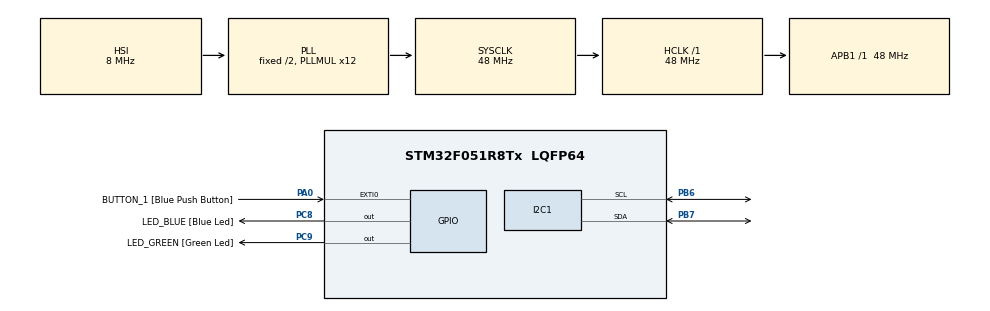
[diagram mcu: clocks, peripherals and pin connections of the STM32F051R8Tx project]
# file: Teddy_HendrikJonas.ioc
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Mcu.Family=STM32F0
Mcu.Name=STM32F051R8Tx
Mcu.Package=LQFP64
NVIC.EXTI0_1_IRQn=true\:1\:0\:true\:false\:true\:true\:true\:true
NVIC.I2C1_IRQn=true\:0\:0\:false\:false\:true\:true\:true\:true
NVIC.TIM1_BRK_UP_TRG_COM_IRQn=true\:1\:0\:true\:false\:true\:true\:true\:true
NVIC.TIM1_CC_IRQn=true\:1\:0\:true\:false\:true\:true\:true\:true
NVIC.TIM2_IRQn=true\:0\:0\:false\:false\:true\:true\:true\:true
NVIC.TIM3_IRQn=true\:0\:0\:false\:false\:true\:true\:true\:true
PA0.GPIO_Label=BUTTON_1 [Blue Push Button]
PA0.Signal=GPXTI0
PA13.GPIO_Label=SWDIO
PA13.Mode=Serial_Wire
PA13.Signal=SYS_SWDIO
PA14.GPIO_Label=SWCLK
PA14.Mode=Serial_Wire
PA14.Signal=SYS_SWCLK
PB6.Mode=I2C
PB6.Signal=I2C1_SCL
PB7.Mode=I2C
PB7.Signal=I2C1_SDA
PC8.GPIO_Label=LED_BLUE [Blue Led]
PC8.Signal=GPIO_Output
PC9.GPIO_Label=LED_GREEN [Green Led]
PC9.Signal=GPIO_Output
ProjectManager.HeapSize=0x200
ProjectManager.StackSize=0x400
ProjectManager.TargetToolchain=STM32CubeIDE
RCC.AHBFreq_Value=48000000
RCC.APB1Freq_Value=48000000
RCC.APB1TimFreq_Value=48000000
RCC.HCLKFreq_Value=48000000
RCC.PLLMUL=RCC_PLL_MUL12
RCC.SYSCLKFreq_VALUE=48000000
RCC.SYSCLKSource=RCC_SYSCLKSOURCE_PLLCLK
TIM1.AutoReloadPreload=TIM_AUTORELOAD_PRELOAD_DISABLE
TIM1.Channel-PWM\ Generation4\ No\ Output=TIM_CHANNEL_4
TIM1.Period=100
TIM1.Prescaler=48000
TIM2.Channel-Output\ Compare1\ No\ Output=TIM_CHANNEL_1
TIM2.Period=2499
TIM2.Prescaler=\ 4800
TIM3.Channel-PWM\ Generation4\ No\ Output=TIM_CHANNEL_4
TIM3.Period=100
TIM3.Prescaler=4800
VP_TIM1_VS_no_output4.Mode=PWM Generation4 No Output
VP_TIM2_VS_no_output1.Mode=Output Compare1 No Output
VP_TIM3_VS_no_output4.Mode=PWM Generation4 No Output
board=STM32F0DISCOVERY

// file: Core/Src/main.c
/* USER CODE BEGIN Header */
/**
 ******************************************************************************
 * @file           : main.c
 * @brief          : Main program body
 ******************************************************************************
 * @attention
 *
 * Copyright (c) 2024 STMicroelectronics.
 * All rights reserved.
 *
 * This software is licensed under terms that can be found in the LICENSE file
 * in the root directory of this software component.
 * If no LICENSE file comes with this software, it is provided AS-IS.
 *
 ******************************************************************************
 */
/* USER CODE END Header */
#include "main.h"

/* USER CODE BEGIN Includes */
#include<stdbool.h>
#include<stdlib.h>
#include<stdio.h>
/* USER CODE END Includes */

// I2C
I2C_HandleTypeDef hi2c1;

// Timer
TIM_HandleTypeDef htim1;
TIM_HandleTypeDef htim2;
TIM_HandleTypeDef htim3;

/* USER CODE BEGIN PV */
bool continueIt = false;	// Variable for Blocking in Delay-Function
bool eyesInverted = false;	// Variable for eye modswitching between normal and inverted
/* USER CODE END PV */

// Initialization functions
void SystemClock_Config(void);
static void MX_GPIO_Init(void);
static void MX_TIM1_Init(void);
static void MX_TIM2_Init(void);
static void MX_I2C1_Init(void);
static void MX_TIM3_Init(void);
/* USER CODE BEGIN PFP */
void DelayTime(uint32_t); //Custom DElay function

// Main functions for Reactions
void Hug();
void EatCookie();
void BeUncomfortable();

void FlashEyesSynchronous(int);
void FlashEyesAsynchronous(int, int);
/* USER CODE END PFP */

int main(void)
{

  /* MCU Configuration--------------------------------------------------------*/

  /* Reset of all peripherals, Initializes the Flash interface and the Systick. */
  HAL_Init();

  /* Configure the system clock */
  SystemClock_Config();

  /* Initialize all configured peripherals */
  MX_GPIO_Init();
  MX_TIM1_Init();
  MX_TIM2_Init();
  MX_I2C1_Init();
  MX_TIM3_Init();
  /* USER CODE BEGIN 2 */

// Hardcoded Prescaler, Autoreload and Capturecompare Registervalues for TIM1 and TIM3 and Prescaler for TIM2
// Overwrites changes of init functions
	TIM1->PSC = 240;
	TIM1->ARR = 400;
	TIM1->CCR4 = 100;

	TIM2->PSC = 4800;

	TIM3->PSC = 240;
	TIM3->ARR = 400;
	TIM3->CCR4 = 100;

// Start Timers and PWM Signal of TIM1 and TIM3
	HAL_TIM_PWM_Start_IT(&htim1,TIM_CHANNEL_4);
	HAL_TIM_PWM_Start_IT(&htim3,TIM_CHANNEL_4);
	HAL_TIM_Base_Start_IT(&htim1);
	HAL_TIM_Base_Start_IT(&htim3);

// Addressvariables for I2C-Commuication
	uint16_t gyroAddress = 0x21<<1;
	uint16_t gyroRegister = 0x01;
	uint16_t gyroControllRegister = 0x13;
	uint16_t magAddress = 0x1F<<1;
	uint16_t magRegister = 0x33;
	uint16_t magControllRegister = 0x2A;
	uint16_t magMagControllRegister = 0x5B;

// Datavariables for I2C-Communication
	uint8_t gyroData[6] = {0,0,0,0,0,0};									// Data-Buffer Gyroscope
	uint8_t gyroControllData[2] = {gyroControllRegister,0b00000010};		// Data to be sent to Gyro CTRL_REG1

	uint8_t magData[6] = {0,0,0,0,0,0};										// Data-Buffer Magnetometer
	uint8_t magControllData[2] = {magControllRegister,0b00000001};			// Data to be sent to Magnetometer CTRL_REG1
	uint8_t magMagControllData[2] = {magMagControllRegister,0b00000001};	// Data to be sent to Magnetometer M_CTRL_REG1

// Statusvariables for I2C-Communication
	HAL_StatusTypeDef statusGyro;
	HAL_StatusTypeDef statusMag;

// Variables for calculation of required information
	int16_t gyroY;

	int16_t magX;
	int16_t magY;
	int16_t magZ;
	uint16_t magAbs;

// Configure Gyroscope and Magnetometer via I2C-Communication
	statusGyro = HAL_I2C_Master_Transmit(&hi2c1, gyroAddress, &gyroControllData[0], 2, 100);
	statusMag = HAL_I2C_Master_Transmit(&hi2c1, magAddress, &magControllData[0], 2, 100);
	statusMag = HAL_I2C_Master_Transmit(&hi2c1, magAddress, &magMagControllData[0], 2, 100);
  /* USER CODE END 2 */

  /* Infinite loop */
	while (1)
	{

    /* USER CODE BEGIN 3 */

// Read Status from Gyroscope and Magnetometer
		statusGyro = HAL_I2C_IsDeviceReady(&hi2c1, gyroAddress, 1, 100);
		statusMag = HAL_I2C_IsDeviceReady(&hi2c1, magAddress, 1, 100);

// If Status OK read AngularRate Data from Gyroscope DataOutputRRegisters
		if(statusGyro == HAL_OK){
			HAL_I2C_Mem_Read(&hi2c1, gyroAddress, gyroRegister, 1, &gyroData[0], 6, 100);

// Convert 8MSB and 8LSB to 16 bit signed integer
			gyroY = (gyroData[2]<<8)+gyroData[3];

// React if agularRate is higher than threshhold
			if(abs(gyroY)>2000){
				BeUncomfortable();
			}
		}

// If Status OK read Magnetometer Data from DataOutputRRegisters
		if(statusMag == HAL_OK){
			HAL_I2C_Mem_Read(&hi2c1, magAddress, magRegister, 1, &magData[0], 6, 100);

// Convert 8MSB and 8LSB to 16 bit signed integer
			magX = (magData[0]<<8)+magData[1];
			magY = (magData[2]<<8)+magData[3];
			magZ = (magData[4]<<8)+magData[5];

// React if magnetic field is stronger than threshhold
			magAbs = (uint16_t)(abs(magX)+abs(magY)+abs(magZ));
			if(magAbs>5000){
				EatCookie();
			}
		}

	// Delay to reduce workload on sensors and I2C-Bus
		DelayTime(100);
	}
  /* USER CODE END 3 */
}

void SystemClock_Config(void)
{
  RCC_OscInitTypeDef RCC_OscInitStruct = {0};
  RCC_ClkInitTypeDef RCC_ClkInitStruct = {0};
  RCC_PeriphCLKInitTypeDef PeriphClkInit = {0};

  /** Initializes the RCC Oscillators according to the specified parameters
  * in the RCC_OscInitTypeDef structure.
  */
  RCC_OscInitStruct.OscillatorType = RCC_OSCILLATORTYPE_HSI;
  RCC_OscInitStruct.HSIState = RCC_HSI_ON;
  RCC_OscInitStruct.HSICalibrationValue = RCC_HSICALIBRATION_DEFAULT;
  RCC_OscInitStruct.PLL.PLLState = RCC_PLL_ON;
  RCC_OscInitStruct.PLL.PLLSource = RCC_PLLSOURCE_HSI;
  RCC_OscInitStruct.PLL.PLLMUL = RCC_PLL_MUL12;
  RCC_OscInitStruct.PLL.PREDIV = RCC_PREDIV_DIV1;
  if (HAL_RCC_OscConfig(&RCC_OscInitStruct) != HAL_OK)
  {
    Error_Handler();
  }

  /** Initializes the CPU, AHB and APB buses clocks
  */
  RCC_ClkInitStruct.ClockType = RCC_CLOCKTYPE_HCLK|RCC_CLOCKTYPE_SYSCLK
                              |RCC_CLOCKTYPE_PCLK1;
  RCC_ClkInitStruct.SYSCLKSource = RCC_SYSCLKSOURCE_PLLCLK;
  RCC_ClkInitStruct.AHBCLKDivider = RCC_SYSCLK_DIV1;
  RCC_ClkInitStruct.APB1CLKDivider = RCC_HCLK_DIV1;

  if (HAL_RCC_ClockConfig(&RCC_ClkInitStruct, FLASH_LATENCY_1) != HAL_OK)
  {
    Error_Handler();
  }
  PeriphClkInit.PeriphClockSelection = RCC_PERIPHCLK_I2C1;
  PeriphClkInit.I2c1ClockSelection = RCC_I2C1CLKSOURCE_HSI;
  if (HAL_RCCEx_PeriphCLKConfig(&PeriphClkInit) != HAL_OK)
  {
    Error_Handler();
  }
}

static void MX_I2C1_Init(void)
{

  hi2c1.Instance = I2C1;
  hi2c1.Init.Timing = 0x2000090E;
  hi2c1.Init.OwnAddress1 = 0;
  hi2c1.Init.AddressingMode = I2C_ADDRESSINGMODE_7BIT;
  hi2c1.Init.DualAddressMode = I2C_DUALADDRESS_DISABLE;
  hi2c1.Init.OwnAddress2 = 0;
  hi2c1.Init.OwnAddress2Masks = I2C_OA2_NOMASK;
  hi2c1.Init.GeneralCallMode = I2C_GENERALCALL_DISABLE;
  hi2c1.Init.NoStretchMode = I2C_NOSTRETCH_DISABLE;
  if (HAL_I2C_Init(&hi2c1) != HAL_OK)
  {
    Error_Handler();
  }

  /** Configure Analogue filter
  */
  if (HAL_I2CEx_ConfigAnalogFilter(&hi2c1, I2C_ANALOGFILTER_ENABLE) != HAL_OK)
  {
    Error_Handler();
  }

  /** Configure Digital filter
  */
  if (HAL_I2CEx_ConfigDigitalFilter(&hi2c1, 0) != HAL_OK)
  {
    Error_Handler();
  }

}

static void MX_TIM1_Init(void)
{

  TIM_MasterConfigTypeDef sMasterConfig = {0};
  TIM_OC_InitTypeDef sConfigOC = {0};
  TIM_BreakDeadTimeConfigTypeDef sBreakDeadTimeConfig = {0};

  htim1.Instance = TIM1;
  htim1.Init.Prescaler = 48000;
  htim1.Init.CounterMode = TIM_COUNTERMODE_UP;
  htim1.Init.Period = 100;
  htim1.Init.ClockDivision = TIM_CLOCKDIVISION_DIV1;
  htim1.Init.RepetitionCounter = 0;
  htim1.Init.AutoReloadPreload = TIM_AUTORELOAD_PRELOAD_DISABLE;
  if (HAL_TIM_PWM_Init(&htim1) != HAL_OK)
  {
    Error_Handler();
  }
  sMasterConfig.MasterOutputTrigger = TIM_TRGO_RESET;
  sMasterConfig.MasterSlaveMode = TIM_MASTERSLAVEMODE_DISABLE;
  if (HAL_TIMEx_MasterConfigSynchronization(&htim1, &sMasterConfig) != HAL_OK)
  {
    Error_Handler();
  }
  sConfigOC.OCMode = TIM_OCMODE_PWM1;
  sConfigOC.Pulse = 0;
  sConfigOC.OCPolarity = TIM_OCPOLARITY_HIGH;
  sConfigOC.OCFastMode = TIM_OCFAST_DISABLE;
  sConfigOC.OCIdleState = TIM_OCIDLESTATE_RESET;
  sConfigOC.OCNIdleState = TIM_OCNIDLESTATE_RESET;
  if (HAL_TIM_PWM_ConfigChannel(&htim1, &sConfigOC, TIM_CHANNEL_4) != HAL_OK)
  {
    Error_Handler();
  }
  sBreakDeadTimeConfig.OffStateRunMode = TIM_OSSR_DISABLE;
  sBreakDeadTimeConfig.OffStateIDLEMode = TIM_OSSI_DISABLE;
  sBreakDeadTimeConfig.LockLevel = TIM_LOCKLEVEL_OFF;
  sBreakDeadTimeConfig.DeadTime = 0;
  sBreakDeadTimeConfig.BreakState = TIM_BREAK_DISABLE;
  sBreakDeadTimeConfig.BreakPolarity = TIM_BREAKPOLARITY_HIGH;
  sBreakDeadTimeConfig.AutomaticOutput = TIM_AUTOMATICOUTPUT_DISABLE;
  if (HAL_TIMEx_ConfigBreakDeadTime(&htim1, &sBreakDeadTimeConfig) != HAL_OK)
  {
    Error_Handler();
  }

}

static void MX_TIM2_Init(void)
{

  TIM_MasterConfigTypeDef sMasterConfig = {0};
  TIM_OC_InitTypeDef sConfigOC = {0};

  htim2.Instance = TIM2;
  htim2.Init.Prescaler = 4800;
  htim2.Init.CounterMode = TIM_COUNTERMODE_UP;
  htim2.Init.Period = 2499;
  htim2.Init.ClockDivision = TIM_CLOCKDIVISION_DIV1;
  htim2.Init.AutoReloadPreload = TIM_AUTORELOAD_PRELOAD_DISABLE;
  if (HAL_TIM_OC_Init(&htim2) != HAL_OK)
  {
    Error_Handler();
  }
  sMasterConfig.MasterOutputTrigger = TIM_TRGO_RESET;
  sMasterConfig.MasterSlaveMode = TIM_MASTERSLAVEMODE_DISABLE;
  if (HAL_TIMEx_MasterConfigSynchronization(&htim2, &sMasterConfig) != HAL_OK)
  {
    Error_Handler();
  }
  sConfigOC.OCMode = TIM_OCMODE_TIMING;
  sConfigOC.Pulse = 0;
  sConfigOC.OCPolarity = TIM_OCPOLARITY_HIGH;
  sConfigOC.OCFastMode = TIM_OCFAST_DISABLE;
  if (HAL_TIM_OC_ConfigChannel(&htim2, &sConfigOC, TIM_CHANNEL_1) != HAL_OK)
  {
    Error_Handler();
  }

}

static void MX_TIM3_Init(void)
{

  TIM_MasterConfigTypeDef sMasterConfig = {0};
  TIM_OC_InitTypeDef sConfigOC = {0};

  htim3.Instance = TIM3;
  htim3.Init.Prescaler = 4800;
  htim3.Init.CounterMode = TIM_COUNTERMODE_UP;
  htim3.Init.Period = 100;
  htim3.Init.ClockDivision = TIM_CLOCKDIVISION_DIV1;
  htim3.Init.AutoReloadPreload = TIM_AUTORELOAD_PRELOAD_DISABLE;
  if (HAL_TIM_PWM_Init(&htim3) != HAL_OK)
  {
    Error_Handler();
  }
  sMasterConfig.MasterOutputTrigger = TIM_TRGO_RESET;
  sMasterConfig.MasterSlaveMode = TIM_MASTERSLAVEMODE_DISABLE;
  if (HAL_TIMEx_MasterConfigSynchronization(&htim3, &sMasterConfig) != HAL_OK)
  {
    Error_Handler();
  }
  sConfigOC.OCMode = TIM_OCMODE_PWM1;
  sConfigOC.Pulse = 0;
  sConfigOC.OCPolarity = TIM_OCPOLARITY_HIGH;
  sConfigOC.OCFastMode = TIM_OCFAST_DISABLE;
  if (HAL_TIM_PWM_ConfigChannel(&htim3, &sConfigOC, TIM_CHANNEL_4) != HAL_OK)
  {
    Error_Handler();
  }

}

static void MX_GPIO_Init(void)
{
  GPIO_InitTypeDef GPIO_InitStruct = {0};

  /* GPIO Ports Clock Enable */
  __HAL_RCC_GPIOA_CLK_ENABLE();
  __HAL_RCC_GPIOC_CLK_ENABLE();
  __HAL_RCC_GPIOB_CLK_ENABLE();

  /*Configure GPIO pin Output Level */
  HAL_GPIO_WritePin(GPIOC, LED_BLUE_Pin|LED_GREEN_Pin, GPIO_PIN_RESET);

  /*Configure GPIO pin : BUTTON_1_Pin */
  GPIO_InitStruct.Pin = BUTTON_1_Pin;
  GPIO_InitStruct.Mode = GPIO_MODE_IT_RISING;
  GPIO_InitStruct.Pull = GPIO_NOPULL;
  HAL_GPIO_Init(BUTTON_1_GPIO_Port, &GPIO_InitStruct);

  /*Configure GPIO pins : LED_BLUE_Pin LED_GREEN_Pin */
  GPIO_InitStruct.Pin = LED_BLUE_Pin|LED_GREEN_Pin;
  GPIO_InitStruct.Mode = GPIO_MODE_OUTPUT_PP;
  GPIO_InitStruct.Pull = GPIO_NOPULL;
  GPIO_InitStruct.Speed = GPIO_SPEED_FREQ_LOW;
  HAL_GPIO_Init(GPIOC, &GPIO_InitStruct);

  /* EXTI interrupt init*/
  HAL_NVIC_SetPriority(EXTI0_1_IRQn, 1, 0);
  HAL_NVIC_EnableIRQ(EXTI0_1_IRQn);

}

/* USER CODE BEGIN 4 */
void HAL_GPIO_EXTI_Callback(uint16_t GPIO_Pin){

// Disable Interrupts on line EXTIO_1
	HAL_NVIC_DisableIRQ(EXTI0_1_IRQn);

// React to button press
	Hug();

// Clear pending interrupts and Enable Interrupts on line EXTIO_1 again
	__HAL_GPIO_EXTI_CLEAR_IT(GPIO_Pin);
	HAL_NVIC_EnableIRQ(EXTI0_1_IRQn);
}

void HAL_TIM_PWM_PulseFinishedCallback(TIM_HandleTypeDef *htim){
// turn Off Green LED on falling Edge of PWM signal (TIM1)
	if(htim == &htim1){

			HAL_GPIO_WritePin(LED_GREEN_GPIO_Port, LED_GREEN_Pin,GPIO_PIN_RESET);
	} else if(htim == &htim3){

// turn Off Blue LED on falling Edge of PWM signal (TIM3) (turn on if in eyesInverted mode)
		if(!eyesInverted){

			HAL_GPIO_WritePin(LED_BLUE_GPIO_Port, LED_BLUE_Pin,GPIO_PIN_RESET);
		} else {

			HAL_GPIO_WritePin(LED_BLUE_GPIO_Port, LED_BLUE_Pin,GPIO_PIN_SET);
		}
	}
}

void HAL_TIM_PeriodElapsedCallback(TIM_HandleTypeDef *htim){
// turn On Green LED on rising Edge of PWM signal (TIM1)
	if (htim == &htim1){

		HAL_GPIO_WritePin(LED_GREEN_GPIO_Port, LED_GREEN_Pin, GPIO_PIN_SET);
	} else if(htim == &htim3){

// turn On Blue LED on rising Edge of PWM signal (TIM3) (turn off if in eyesInverted mode)
		if(!eyesInverted){

			HAL_GPIO_WritePin(LED_BLUE_GPIO_Port, LED_BLUE_Pin,GPIO_PIN_SET);
		} else {

			HAL_GPIO_WritePin(LED_BLUE_GPIO_Port, LED_BLUE_Pin,GPIO_PIN_RESET);
		}
// set Flag to exit infinite loop in Delay function of rising Edge of PWM-Signal (TIM2)
	} else if (htim == &htim2){

		continueIt = true;
	}
}

void DelayTime(uint32_t delay)
{
	continueIt = false;

// Configure and Start Timer (TIM2) for Delay-Function
	TIM2->ARR = delay*10;
	TIM2->CCR1 = delay*10;
	TIM2->CNT = 0;
	HAL_TIM_Base_Start_IT(&htim2);

// Enter infinite loop for blocking
	while(!continueIt){

	}

// Stop Timer (TIM2)
	HAL_TIM_Base_Stop_IT(&htim2);
}

void Hug(){
// Stop TIMERs and PWM-Signals TIM1 and TIM3 to fully turn on/off the Green and Blue LED
	HAL_TIM_PWM_Stop_IT(&htim1, TIM_CHANNEL_4);
	HAL_TIM_PWM_Stop_IT(&htim3, TIM_CHANNEL_4);
	HAL_TIM_Base_Stop_IT(&htim1);
	HAL_TIM_Base_Stop_IT(&htim3);

// Ensure that Green and Blue LEDs are on
	if (HAL_GPIO_ReadPin(LED_BLUE_GPIO_Port, LED_BLUE_Pin) == GPIO_PIN_RESET){
		HAL_GPIO_WritePin(LED_BLUE_GPIO_Port, LED_BLUE_Pin,GPIO_PIN_SET);
	}
	if (HAL_GPIO_ReadPin(LED_GREEN_GPIO_Port, LED_GREEN_Pin) == GPIO_PIN_RESET){
		HAL_GPIO_WritePin(LED_GREEN_GPIO_Port, LED_GREEN_Pin, GPIO_PIN_SET);
	}

// Wait
	DelayTime(500);

// Start Timers and PWM-Signals TIM1 and TIM3 again
	HAL_TIM_PWM_Start_IT(&htim1, TIM_CHANNEL_4);
	HAL_TIM_PWM_Start_IT(&htim3, TIM_CHANNEL_4);
	HAL_TIM_Base_Start_IT(&htim1);
	HAL_TIM_Base_Start_IT(&htim3);
}

void EatCookie(){

// Disable Interrupts on line EXTIO_1
	HAL_NVIC_DisableIRQ(EXTI0_1_IRQn);

// Flash LEDs synchronously for 2500ms
	FlashEyesSynchronous(2500);

// Clear pending interrupts and Enable Interrupts on line EXTIO_1 again
	__HAL_GPIO_EXTI_CLEAR_IT(BUTTON_1_Pin);
	HAL_NVIC_EnableIRQ(EXTI0_1_IRQn);
}

void BeUncomfortable(){

// Disable Interrupts on line EXTIO_1
	HAL_NVIC_DisableIRQ(EXTI0_1_IRQn);

// Switch eye mode to inverted
	eyesInverted = true;

// Flash LEDs asynchronously for 4000ms
	FlashEyesAsynchronous(4000,3);

// Switch eye mode back to normal
	eyesInverted = false;

// Clear pending interrupts and Enable Interrupts on line EXTIO_1 again
	__HAL_GPIO_EXTI_CLEAR_IT(BUTTON_1_Pin);
	HAL_NVIC_EnableIRQ(EXTI0_1_IRQn);
}

void FlashEyesSynchronous(int duration){

// Save initial Timer config (TIM1)
	int initialCCR = TIM1->CCR4;

// Initialize PWM and Loop Control variables
	int maximumCCR = TIM1->ARR;
	int stepCount = (maximumCCR-initialCCR)/10;
	int delayBetweenSteps = duration / stepCount / 2;

// Loop for raising brightness to maximum
	for (int i = 0; i < stepCount; i++){
		TIM1->CCR4 = initialCCR + i*10;
		TIM3->CCR4 = TIM1->CCR4;
		DelayTime(delayBetweenSteps);
	}

// Loop for reducing brightness to initial value
	for (int i = 0; i < stepCount; i++){
		TIM1->CCR4 = maximumCCR-i*10;
		TIM3->CCR4 = TIM1->CCR4;
		DelayTime(delayBetweenSteps);
	}

// Resetting Timer config to initial values (TIM1 & TIM3)
	TIM1->CCR4 = initialCCR;
	TIM3->CCR4 = TIM1->CCR4;
}

void FlashEyesAsynchronous(int duration, int flashCount){

// Save initial Timer config (TIM1)
	int initialCCR1 = TIM1->CCR4;

// Initialize PWM and Loop Control variables
	int maximumCCR = TIM1->ARR;
	int initialCCR3 = maximumCCR-initialCCR1;

	int medianCCR = maximumCCR/2;
	int stepCountIni = (medianCCR - initialCCR1)/10;
	int stepCount = medianCCR / 10;
	int delayBetweenSteps = duration / (2*stepCountIni + 2*stepCount + 4*stepCount*flashCount);

// Loop for bringing brightness to half brightness
	for(int i = 0; i<stepCountIni; i++){
		TIM1->CCR4 = initialCCR1+i*10;
		TIM3->CCR4 = initialCCR3-i*10;
		DelayTime(delayBetweenSteps);
	}

// Loop for bringing Brightnesses to full / zero
	for(int i = 0; i<stepCount; i++){
		TIM1->CCR4 = medianCCR-i*10;
		TIM3->CCR4 = medianCCR-i*10;
		DelayTime(delayBetweenSteps);
	}

// Loop for flashing
	for (int c = 0; c < flashCount; c++){
		for(int i = 0; i<2*stepCount; i++){
			if(i == 0){
				TIM1->CCR4 = 1;
				TIM3->CCR4 = 1;
			} else {
				TIM1->CCR4 = i*10;
				TIM3->CCR4 = i*10;
			}
			DelayTime(delayBetweenSteps);
		}

		for(int i = 0; i<2*stepCount; i++){
			TIM1->CCR4 = maximumCCR - i*10;
			TIM3->CCR4 = maximumCCR - i*10;
			DelayTime(delayBetweenSteps);
		}
	}

// Loop for bringing brightnesses to half brightness
	for(int i = 0; i<stepCount; i++){
		if(i == 0){
			TIM1->CCR4 = 1;
			TIM3->CCR4 = 1;
		} else {
			TIM1->CCR4 = i*10;
			TIM3->CCR4 = i*10;
		}
		DelayTime(delayBetweenSteps);
	}

// Loop for bringing brightnesses to initial value
	for(int i = 0; i<stepCountIni; i++){
		TIM1->CCR4 = medianCCR-i*10;
		TIM3->CCR4 = medianCCR+i*10;
		DelayTime(delayBetweenSteps);
	}

// Restore initial timer config (TIM1 & TIM3)
	TIM1->CCR4 = initialCCR1;
	TIM3->CCR4 = initialCCR1;
}
/* USER CODE END 4 */

void Error_Handler(void)
{
	__disable_irq();
	while (1)
	{
	}
}
